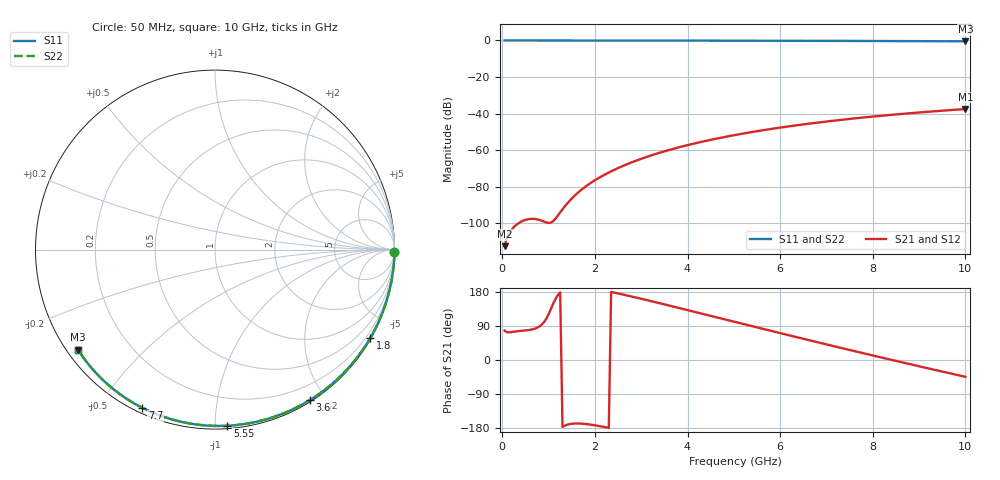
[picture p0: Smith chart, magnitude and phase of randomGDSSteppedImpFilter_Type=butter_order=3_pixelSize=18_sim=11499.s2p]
! freq	dB(S11)	phase(S11)	dB(S12)	phase(S12)
!  dB(S21)	phase(S21)	dB(S22)	phase(S22)
!S-par simulation data
#  GHz  S  DB  R 50
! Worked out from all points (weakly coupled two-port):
!   200 points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, 50 MHz to 10 GHz, reference 50 ohm
!   highest |S21| = -37.52 dB at 10 GHz (marker M1); lowest = -112.5 dB at 50 MHz (marker M2)
!   lowest |S11| = -0.5 dB at 10 GHz (marker M3), VSWR 35.64, Z = 1.55 - j16.3 ohm
!   |S11| at or under -10 dB: nowhere
!   |S22| runs from -0.5 to 0.0 dB; largest |S21 - S12| = 0
!   S11 on the Smith chart (normalised r, x): 50 MHz: open; 1.8 GHz: 0.03, -3.79; 3.6 GHz: 0.02, -1.82; 5.55 GHz: 0.02, -1.07; 7.7 GHz: 0.02, -0.64; 10 GHz: 0.03, -0.33
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0.05  -0.00 -0.8  -112.51 77.6  -112.51 77.6  -0.00 -0.8
0.45  -0.01 -7.5  -98.60 77.3  -98.60 77.3  -0.01 -7.5
0.9  -0.02 -14.9  -99.07 99.8  -99.07 99.8  -0.02 -14.9
1.3  -0.03 -21.5  -92.34 -176.6  -92.34 -176.6  -0.03 -21.5
1.75  -0.04 -28.8  -80.83 -168.3  -80.83 -168.3  -0.04 -28.8
1.8  -0.04 -29.6  -79.87 -168.9  -79.87 -168.9  -0.04 -29.6
1.95  -0.04 -32.0  -77.26 -171.4  -77.26 -171.4  -0.04 -32.0
2.1  -0.04 -34.4  -74.95 -174.4  -74.95 -174.4  -0.04 -34.4
2.3  -0.05 -37.6  -72.21 -179.2  -72.21 -179.2  -0.05 -37.6
2.5  -0.05 -40.7  -69.79 175.7  -69.79 175.7  -0.05 -40.7
2.9  -0.06 -47.0  -65.64 164.5  -65.64 164.5  -0.06 -47.0
3.4  -0.07 -54.7  -61.39 149.8  -61.39 149.8  -0.07 -54.7
3.6  -0.08 -57.7  -59.91 143.8  -59.91 143.8  -0.08 -57.7
4.3  -0.10 -68.1  -55.45 122.6  -55.45 122.6  -0.10 -68.1
5.05  -0.12 -78.9  -51.60 99.7  -51.60 99.7  -0.12 -78.9
5.55  -0.14 -85.9  -49.42 84.5  -49.42 84.5  -0.14 -85.9
6.1  -0.17 -93.5  -47.30 68.0  -47.30 68.0  -0.17 -93.5
6.7  -0.20 -101.6  -45.26 50.0  -45.26 50.0  -0.20 -101.6
7.7  -0.26 -114.6  -42.39 20.6  -42.39 20.6  -0.26 -114.6
8.35  -0.32 -122.9  -40.79 1.9  -40.79 1.9  -0.32 -123.0
9.2  -0.40 -133.7  -38.99 -22.2  -38.99 -22.2  -0.40 -133.7
10  -0.49 -143.8  -37.52 -44.4  -37.52 -44.4  -0.49 -143.8
